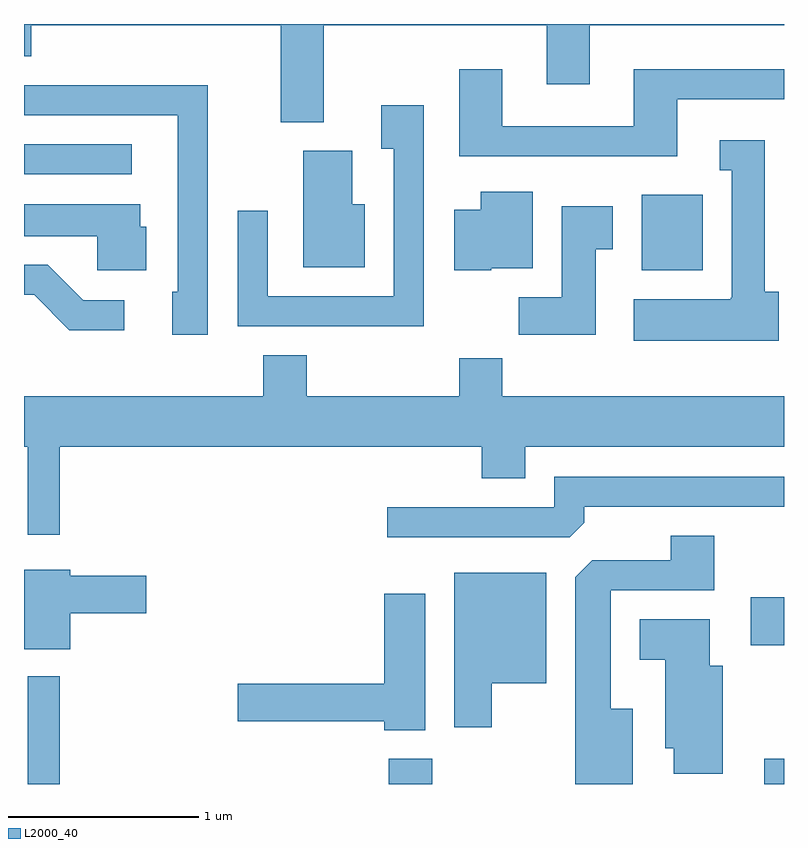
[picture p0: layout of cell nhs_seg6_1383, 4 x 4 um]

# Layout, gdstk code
import gdstk
lib = gdstk.Library(unit=1e-6, precision=1e-09)
def R(c, l, rs):  # rectangles x0, y0, x1, y1
    for r in rs: c.add(gdstk.rectangle(r[:2], r[2:], *l))
def P(c, l, *ps):  # polygons
    for p in ps: c.add(gdstk.Polygon(p, *l))
L2000_40 = (2000, 40)

nhs_seg6_1383 = lib.new_cell('nhs_seg6_1383')
R(nhs_seg6_1383, L2000_40, [(225.631,1648.162,225.799,1648.728), (227.531,1648.162,227.759,1648.294), (229.506,1648.162,229.611,1648.294), (229.436,1648.891,229.611,1649.144), (228.861,1650.866,229.184,1651.264), (225.611,1651.371,226.178,1651.529)])
P(nhs_seg6_1383, L2000_40, [(227.189,1652.156),(228.361,1652.156),(228.361,1651.846),(228.589,1651.846),(228.589,1652.156),(229.611,1652.156),(229.611,1652.162),(225.611,1652.162),(225.611,1651.991),(225.649,1651.991),(225.649,1652.156),(226.961,1652.156),(226.961,1651.646),(227.189,1651.646)],
  [(229.049,1651.766),(229.611,1651.766),(229.611,1651.924),(228.821,1651.924),(228.821,1651.624),(228.129,1651.624),(228.129,1651.924),(227.901,1651.924),(227.901,1651.466),(229.049,1651.466)],
  [(226.579,1651.839),(225.611,1651.839),(225.611,1651.681),(226.421,1651.681),(226.421,1650.754),(226.391,1650.754),(226.391,1650.526),(226.579,1650.526)],
  [(227.714,1651.734),(227.491,1651.734),(227.491,1651.506),(227.556,1651.506),(227.556,1650.729),(226.894,1650.729),(226.894,1651.178),(226.736,1651.178),(226.736,1650.571),(227.714,1650.571)],
  [(229.584,1650.754),(229.509,1650.754),(229.509,1651.549),(229.273,1651.549),(229.273,1651.391),(229.336,1651.391),(229.336,1650.72),(229.33,1650.72),(229.33,1650.714),(228.821,1650.714),(228.821,1650.496),(229.584,1650.496)],
  [(227.404,1651.214),(227.339,1651.214),(227.339,1651.494),(227.081,1651.494),(227.081,1650.881),(227.404,1650.881)],
  [(228.07,1650.876),(228.289,1650.876),(228.289,1651.279),(228.016,1651.279),(228.016,1651.184),(227.876,1651.184),(227.876,1650.866),(228.07,1650.866)],
  [(226.254,1651.094),(226.224,1651.094),(226.224,1651.214),(225.611,1651.214),(225.611,1651.046),(225.996,1651.046),(225.996,1650.866),(226.254,1650.866)],
  [(228.619,1650.976),(228.709,1650.976),(228.709,1651.204),(228.441,1651.204),(228.441,1650.724),(228.216,1650.724),(228.216,1650.526),(228.619,1650.526)],
  [(226.138,1650.709),(225.922,1650.709),(225.737,1650.894),(225.611,1650.894),(225.611,1650.736),(225.664,1650.736),(225.849,1650.551),(226.138,1650.551)],
  [(225.799,1649.936),(228.021,1649.936),(228.021,1649.771),(228.249,1649.771),(228.249,1649.936),(229.611,1649.936),(229.611,1650.204),(228.129,1650.204),(228.129,1650.404),(227.901,1650.404),(227.901,1650.204),(227.099,1650.204),(227.099,1650.419),(226.871,1650.419),(226.871,1650.204),(225.611,1650.204),(225.611,1649.936),(225.631,1649.936),(225.631,1649.473),(225.799,1649.473)],
  [(228.559,1649.537),(228.559,1649.621),(229.611,1649.621),(229.611,1649.779),(228.401,1649.779),(228.401,1649.619),(227.523,1649.619),(227.523,1649.461),(228.484,1649.461)],
  [(228.814,1648.559),(228.699,1648.559),(228.699,1649.181),(229.244,1649.181),(229.244,1649.469),(229.016,1649.469),(229.016,1649.339),(228.602,1649.339),(228.511,1649.249),(228.511,1648.162),(228.814,1648.162)],
  [(225.854,1649.061),(226.254,1649.061),(226.254,1649.259),(225.854,1649.259),(225.854,1649.289),(225.611,1649.289),(225.611,1648.871),(225.854,1648.871)],
  [(228.074,1648.691),(228.359,1648.691),(228.359,1649.274),(227.876,1649.274),(227.876,1648.461),(228.074,1648.461)],
  [(227.724,1649.164),(227.506,1649.164),(227.506,1648.689),(226.736,1648.689),(226.736,1648.491),(227.506,1648.491),(227.506,1648.446),(227.724,1648.446)],
  [(229.289,1648.784),(229.219,1648.784),(229.219,1649.029),(228.851,1649.029),(228.851,1648.816),(228.986,1648.816),(228.986,1648.351),(229.031,1648.351),(229.031,1648.216),(229.289,1648.216)])

lib.write_gds('nhs_seg6_1383.gds')
